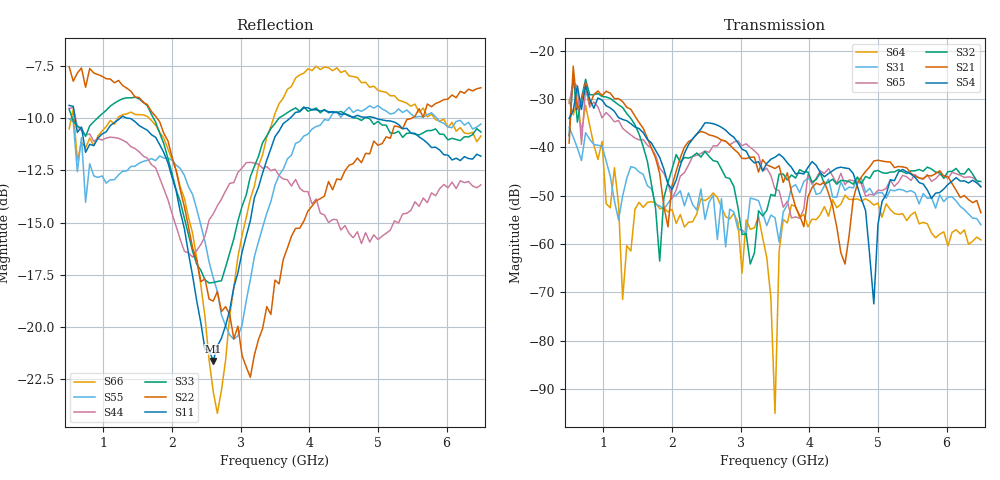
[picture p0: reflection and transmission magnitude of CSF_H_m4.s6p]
!Keysight Technologies,M9804A,MY58100912,A.14.10.03
!Date: Thursday, April 27, 2023 10:28:33
!Correction: S11(C  6-Port  )
!S12(C  6-Port  )
!S13(C  6-Port  )
!S14(C  6-Port  )
!S15(C  6-Port  )
!S16(C  6-Port  )
!S21(C  6-Port  )
!S22(C  6-Port  )
!S23(C  6-Port  )
!S24(C  6-Port  )
!S25(C  6-Port  )
!S26(C  6-Port  )
!S31(C  6-Port  )
!S32(C  6-Port  )
!S33(C  6-Port  )
!S34(C  6-Port  )
!S35(C  6-Port  )
!S36(C  6-Port  )
!S41(C  6-Port  )
!S42(C  6-Port  )
!S43(C  6-Port  )
!S44(C  6-Port  )
!S45(C  6-Port  )
!S46(C  6-Port  )
!S51(C  6-Port  )
!S52(C  6-Port  )
!S53(C  6-Port  )
!S54(C  6-Port  )
!S55(C  6-Port  )
!S56(C  6-Port  )
!S61(C  6-Port  )
!S62(C  6-Port  )
!S63(C  6-Port  )
!S64(C  6-Port  )
!S65(C  6-Port  )
!S66(C  6-Port  )
!S6P File: Measurement: :
# Hz S  RI  R 50
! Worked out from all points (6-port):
!   101 points, 500 MHz to 6.5 GHz, reference 50 ohm
!   strongest paths, dB at 500 MHz, 2 GHz, 3.5 GHz, 5 GHz, 6.5 GHz:
!     S54: -34.0, -48.7, -42.0, -56.0, -48.1
!     S21: -39.1, -47.9, -44.4, -42.7, -53.5
!     S32: -37.6, -44.5, -50.0, -44.8, -47.1
!     S65: -30.9, -50.5, -48.6, -48.8, -48.2
!     S31: -35.8, -50.3, -54.6, -49.4, -56.0
!     S64: -30.3, -52.8, -95.0, -51.5, -59.1
!   lowest |S11| = -21.6 dB at 2.6 GHz (marker M1), VSWR 1.18, Z = 42.6 + j2.03 ohm
!   |S11| at or under -10 dB: 587.7 MHz to 1.24 GHz (652.4 MHz wide, 71.4 % of centre); 1.38 GHz to 3.714 GHz (2.334 GHz wide, 91.6 % of centre); 4.974 GHz to end of sweep
